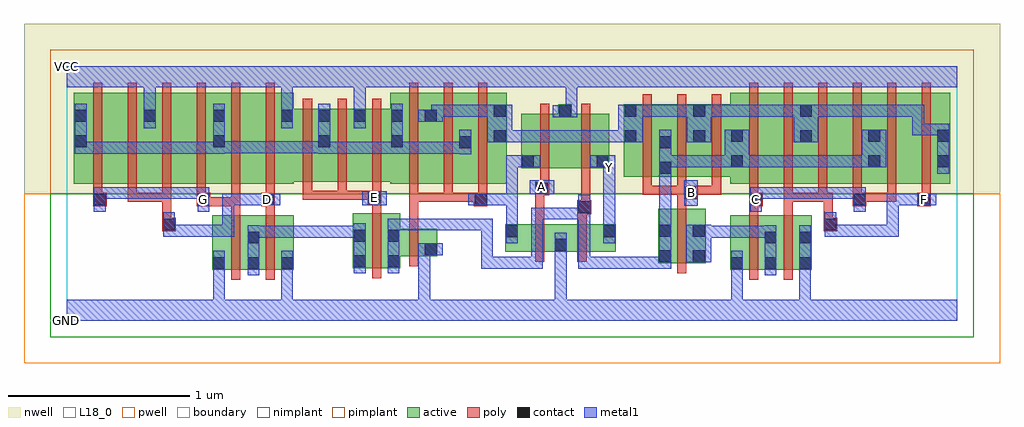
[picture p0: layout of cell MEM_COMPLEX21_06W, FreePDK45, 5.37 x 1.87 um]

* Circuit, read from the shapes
.subckt MEM_COMPLEX21_06W A B C D E F G GND VCC Y
M1 n1 G GND VSUBS nfet w=0.3u l=0.05u
M2 GND D n1 VSUBS nfet w=0.3u l=0.05u
M3 n2 E n1 VSUBS nfet w=0.3u l=0.05u
M4 GND n3 n2 VSUBS nfet w=0.15u l=0.05u
M5 GND A n3 VSUBS nfet w=0.15u l=0.05u
M6 Y n2 GND VSUBS nfet w=0.15u l=0.05u
M7 n4 B n2 VSUBS nfet w=0.3u l=0.05u
M8 n4 C GND VSUBS nfet w=0.3u l=0.05u
M9 GND F n4 VSUBS nfet w=0.3u l=0.05u
M10 n5 G n6 n7 pfet w=0.5u l=0.05u
M11 VCC D n5 n7 pfet w=0.5u l=0.05u
M12 n8 D VCC n7 pfet w=0.5u l=0.05u
M13 n6 G n8 n7 pfet w=0.5u l=0.05u
M14 n9 G n6 n7 pfet w=0.5u l=0.05u
M15 VCC D n9 n7 pfet w=0.5u l=0.05u
M16 n6 E VCC n7 pfet w=0.4u l=0.05u m=3
M17 n10 n3 n6 n7 pfet w=0.5u l=0.05u m=3
M18 VCC A n3 n7 pfet w=0.3u l=0.05u
M19 Y n2 VCC n7 pfet w=0.3u l=0.05u
M20 n2 B n10 n7 pfet w=0.4u l=0.05u m=3
M21 n11 C n2 n7 pfet w=0.5u l=0.05u
M22 n10 F n11 n7 pfet w=0.5u l=0.05u
M23 n12 F n10 n7 pfet w=0.5u l=0.05u
M24 n2 C n12 n7 pfet w=0.5u l=0.05u
M25 n13 C n2 n7 pfet w=0.5u l=0.05u
M26 n10 F n13 n7 pfet w=0.5u l=0.05u
.ends

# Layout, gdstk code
import gdstk
lib = gdstk.Library(unit=1e-6, precision=1e-09)
def R(c, l, rs):  # rectangles x0, y0, x1, y1
    for r in rs: c.add(gdstk.rectangle(r[:2], r[2:], *l))
def A(c, l, x, y, w, h, nx, ny, dx, dy):  # array of equal rectangles
    R(c, l, [(x+i*dx, y+j*dy, x+i*dx+w, y+j*dy+h) for i in range(nx) for j in range(ny)])
active = (1, 0)
pwell = (2, 0)
nwell = (3, 0)
nimplant = (4, 0)
pimplant = (5, 0)
poly = (9, 0)
contact = (10, 0)
metal1 = (11, 0)
L18_0 = (18, 0)
boundary = (235, 0)

mem_complex21_06w = lib.new_cell('MEM_COMPLEX21_06W')
A(mem_complex21_06w, active, 0.04, 0.755, 0.225, 0.5, 3, 1, 0.38, 0)
R(mem_complex21_06w, active, [(0.8,0.28,0.875,0.58), (0.8,0.28,1.065,0.58), (0.99,0.28,1.065,0.495), (0.99,0.28,1.25,0.58), (1.175,0.28,1.25,0.58), (3.65,0.28,3.725,0.58), (3.65,0.28,3.91,0.58), (3.835,0.28,4.1,0.58), (3.835,0.28,3.91,0.495), (4.025,0.28,4.1,0.58), (1.575,0.29,1.65,0.59), (1.575,0.29,1.835,0.59), (1.76,0.29,1.835,0.505), (3.255,0.317,3.33,0.617), (3.255,0.317,3.515,0.617), (3.44,0.317,3.515,0.617), (1.76,0.355,2.04,0.505), (1.965,0.355,2.04,0.505), (2.412,0.38,2.755,0.53), (2.68,0.38,2.755,0.455), (2.68,0.38,3.022,0.53), (2.412,0.455,2.487,0.53), (2.947,0.455,3.022,0.53), (0.04,0.755,0.145,1.2), (0.265,0.755,0.495,1.255), (0.42,0.755,0.495,1.255), (0.645,0.755,0.875,1.255), (0.8,0.755,0.875,1.2), (1.025,0.755,1.25,1.255), (1.78,0.755,2.04,1.255), (1.965,0.755,2.04,1.2), (1.965,0.755,2.23,1.255), (2.155,0.755,2.42,1.255), (2.155,0.755,2.23,1.07), (2.345,0.755,2.42,1.2), (3.65,0.755,3.875,1.255), (3.875,0.755,4.105,1.255), (4.03,0.755,4.255,1.255), (4.255,0.755,4.48,1.255), (4.405,0.755,4.635,1.255), (4.635,0.755,4.86,1.255), (4.785,0.755,4.86,1.2), (1.175,0.765,1.455,1.165), (1.38,0.765,1.65,1.165), (1.575,0.765,1.855,1.165), (3.065,0.792,3.33,1.192), (3.065,0.792,3.14,1.192), (3.255,0.792,3.33,1.07), (3.255,0.792,3.517,1.192), (3.442,0.792,3.725,1.192), (3.65,0.792,3.725,1.07), (4.03,0.807,4.105,1.2), (4.405,0.807,4.48,1.07), (2.5,0.84,2.575,1.055), (2.5,0.84,2.78,1.14), (2.705,0.84,2.985,1.14), (2.91,0.84,2.985,1.055), (1.175,0.907,1.25,1.165), (1.38,0.907,1.455,1.165), (1.575,0.907,1.65,1.165), (1.78,0.907,1.855,1.2), (3.442,0.907,3.517,1.192), (2.705,0.995,2.78,1.19)])
R(mem_complex21_06w, pwell, [(-0.235,-0.235,5.135,0.7)])
R(mem_complex21_06w, nwell, [(-0.235,0.7,5.135,1.635)])
R(mem_complex21_06w, nimplant, [(-0.09,-0.09,4.99,0.7)])
R(mem_complex21_06w, pimplant, [(-0.09,0.7,4.99,1.49)])
A(mem_complex21_06w, poly, 0.145, 0.655, 0.05, 0.095, 4, 1, 0.19, 0)
A(mem_complex21_06w, poly, 1.885, 0.655, 0.05, 0.095, 3, 1, 0.19, 0)
A(mem_complex21_06w, poly, 3.755, 0.655, 0.05, 0.095, 6, 1, 0.19, 0)
A(mem_complex21_06w, poly, 1.3, 0.665, 0.05, 0.095, 3, 1, 0.19, 0)
A(mem_complex21_06w, poly, 3.17, 0.692, 0.05, 0.095, 3, 1, 0.19, 0)
A(mem_complex21_06w, poly, 0.145, 0.7, 0.05, 0.61, 6, 1, 0.19, 0)
A(mem_complex21_06w, poly, 1.885, 0.7, 0.05, 0.61, 3, 1, 0.19, 0)
A(mem_complex21_06w, poly, 3.755, 0.7, 0.05, 0.61, 6, 1, 0.19, 0)
A(mem_complex21_06w, poly, 1.3, 0.71, 0.05, 0.51, 3, 1, 0.19, 0)
A(mem_complex21_06w, poly, 3.17, 0.737, 0.05, 0.51, 3, 1, 0.19, 0)
R(mem_complex21_06w, poly, [(0.905,0.225,0.955,0.635), (1.095,0.225,1.145,0.635), (3.755,0.225,3.805,0.635), (3.945,0.225,3.995,0.635), (1.68,0.235,1.73,0.645), (3.36,0.262,3.41,0.672), (1.885,0.3,1.935,0.56), (2.577,0.325,2.627,0.585), (2.81,0.325,2.86,0.585), (0.525,0.492,0.6,0.567), (4.165,0.492,4.24,0.567), (1.885,0.51,1.935,0.705), (0.525,0.517,0.575,0.705), (4.165,0.517,4.215,0.705), (2.577,0.535,2.627,0.74), (2.81,0.535,2.86,0.637), (0.905,0.585,0.955,0.68), (1.095,0.585,1.145,0.68), (3.755,0.585,3.805,0.68), (3.945,0.585,3.995,0.705), (2.81,0.587,2.885,0.662), (1.68,0.595,1.73,0.69), (2.83,0.612,2.88,0.835), (3.36,0.622,3.41,0.717), (0.145,0.63,0.22,0.705), (0.715,0.63,0.79,0.705), (0.74,0.63,0.955,0.68), (0.74,0.63,0.79,0.68), (0.74,0.63,0.79,0.68), (0.905,0.63,0.955,0.68), (0.905,0.63,0.955,0.75), (1.07,0.63,1.145,0.705), (2.24,0.63,2.315,0.705), (3.755,0.63,3.83,0.705), (4.325,0.63,4.4,0.705), (4.68,0.63,4.755,0.705), (1.655,0.64,1.73,0.715), (0.335,0.655,0.385,0.705), (0.335,0.655,0.385,0.705), (0.335,0.655,0.385,0.705), (0.335,0.655,0.575,0.705), (0.525,0.655,0.575,0.705), (0.525,0.655,0.575,0.705), (0.525,0.655,0.575,0.705), (1.095,0.655,1.145,0.75), (1.885,0.655,1.935,0.705), (1.885,0.655,2.125,0.705), (2.075,0.655,2.29,0.705), (2.075,0.655,2.125,0.705), (2.075,0.655,2.125,0.705), (2.075,0.655,2.125,0.705), (2.24,0.655,2.29,0.705), (2.24,0.655,2.29,0.705), (3.945,0.655,3.995,0.705), (3.945,0.655,3.995,0.705), (3.945,0.655,3.995,0.705), (3.945,0.655,4.185,0.705), (4.135,0.655,4.185,0.705), (4.135,0.655,4.185,0.705), (4.135,0.655,4.215,0.705), (4.35,0.655,4.565,0.705), (4.35,0.655,4.4,0.705), (4.35,0.655,4.4,0.705), (4.515,0.655,4.565,0.705), (1.3,0.665,1.35,0.715), (1.3,0.665,1.35,0.715), (1.3,0.665,1.35,0.715), (1.3,0.665,1.54,0.715), (1.49,0.665,1.705,0.715), (1.49,0.665,1.54,0.715), (1.49,0.665,1.54,0.715), (1.49,0.665,1.54,0.715), (3.36,0.667,3.467,0.742), (2.577,0.69,2.655,0.765), (3.17,0.692,3.22,0.742), (3.17,0.692,3.22,0.742), (3.17,0.692,3.22,0.742), (3.17,0.692,3.41,0.742), (3.417,0.692,3.467,0.742), (3.417,0.692,3.467,0.742), (3.417,0.692,3.6,0.742), (3.55,0.692,3.6,0.742), (2.605,0.715,2.655,0.835), (2.605,0.785,2.655,1.195), (2.83,0.785,2.88,1.195)])
A(mem_complex21_06w, contact, 0.045, 1.095, 0.065, 0.065, 3, 1, 0.38, 0)
R(mem_complex21_06w, contact, [(0.805,0.285,0.87,0.35), (0.995,0.285,1.06,0.35), (1.18,0.285,1.245,0.35), (3.655,0.285,3.72,0.35), (3.84,0.285,3.905,0.35), (4.03,0.285,4.095,0.35), (1.58,0.295,1.645,0.36), (1.765,0.295,1.83,0.36), (3.26,0.322,3.325,0.387), (3.445,0.322,3.51,0.387), (1.97,0.36,2.035,0.425), (2.685,0.385,2.75,0.45), (0.995,0.425,1.06,0.49), (3.84,0.425,3.905,0.49), (4.03,0.425,4.095,0.49), (1.58,0.435,1.645,0.5), (1.765,0.435,1.83,0.5), (2.417,0.46,2.482,0.525), (2.952,0.46,3.017,0.525), (3.26,0.462,3.325,0.527), (3.445,0.462,3.51,0.527), (0.53,0.497,0.595,0.562), (4.17,0.497,4.235,0.562), (2.815,0.592,2.88,0.657), (0.15,0.635,0.215,0.7), (0.72,0.635,0.785,0.7), (1.075,0.635,1.14,0.7), (2.245,0.635,2.31,0.7), (3.76,0.635,3.825,0.7), (4.33,0.635,4.395,0.7), (4.685,0.635,4.75,0.7), (1.66,0.645,1.725,0.71), (3.397,0.672,3.462,0.737), (2.582,0.695,2.647,0.76), (3.26,0.81,3.325,0.875), (2.505,0.845,2.57,0.91), (2.915,0.845,2.98,0.91), (3.655,0.845,3.72,0.91), (4.41,0.845,4.475,0.91), (4.79,0.845,4.855,0.91), (2.16,0.95,2.225,1.015), (3.26,0.95,3.325,1.015), (0.045,0.955,0.11,1.02), (0.805,0.955,0.87,1.02), (1.385,0.955,1.45,1.02), (1.785,0.955,1.85,1.02), (2.35,0.982,2.415,1.047), (3.07,0.982,3.135,1.047), (3.447,0.982,3.512,1.047), (4.035,0.982,4.1,1.047), (3.655,0.985,3.72,1.05), (4.41,0.985,4.475,1.05), (4.79,0.985,4.855,1.05), (1.18,1.095,1.245,1.16), (1.385,1.095,1.45,1.16), (1.58,1.095,1.645,1.16), (1.785,1.095,1.85,1.16), (1.97,1.095,2.035,1.16), (2.71,1.12,2.775,1.185), (2.35,1.122,2.415,1.187), (3.07,1.122,3.135,1.187), (3.447,1.122,3.512,1.187), (4.035,1.122,4.1,1.187)])
R(mem_complex21_06w, metal1, [(0,0,4.9,0.115), (0.805,0.05,0.87,0.115), (0.805,0.05,0.87,0.115), (0.805,0.05,0.87,0.315), (1.18,0.05,1.245,0.115), (1.18,0.05,1.245,0.115), (1.18,0.05,1.245,0.315), (1.935,0.05,2,0.115), (1.935,0.05,2,0.115), (1.935,0.05,2,0.115), (1.935,0.05,2,0.115), (1.935,0.05,2,0.115), (1.935,0.05,2,0.115), (1.935,0.05,2,0.425), (2.685,0.05,2.75,0.115), (2.685,0.05,2.75,0.115), (2.685,0.05,2.75,0.115), (2.685,0.05,2.75,0.115), (2.685,0.05,2.75,0.115), (2.685,0.05,2.75,0.115), (2.685,0.05,2.75,0.415), (3.655,0.05,3.72,0.115), (3.655,0.05,3.72,0.115), (3.655,0.05,3.72,0.315), (4.03,0.05,4.095,0.115), (4.03,0.05,4.095,0.115), (4.03,0.05,4.095,0.115), (4.03,0.05,4.095,0.115), (4.03,0.05,4.095,0.315), (0.805,0.25,0.87,0.315), (0.805,0.25,0.87,0.315), (0.805,0.25,0.87,0.385), (0.995,0.25,1.06,0.525), (1.18,0.25,1.245,0.315), (1.18,0.25,1.245,0.315), (1.18,0.25,1.245,0.385), (3.655,0.25,3.72,0.315), (3.655,0.25,3.72,0.315), (3.655,0.25,3.72,0.385), (3.84,0.25,3.905,0.525), (4.03,0.25,4.095,0.525), (1.58,0.26,1.645,0.535), (1.765,0.26,1.83,0.535), (2.28,0.287,2.345,0.352), (2.28,0.287,2.345,0.562), (2.28,0.287,2.602,0.352), (2.537,0.287,2.602,0.352), (2.537,0.287,2.62,0.352), (2.555,0.287,2.62,0.352), (2.555,0.287,2.62,0.622), (2.815,0.287,2.88,0.352), (2.815,0.287,3.155,0.352), (2.815,0.287,2.88,0.622), (3.09,0.287,3.155,0.352), (3.09,0.287,3.155,0.352), (3.09,0.287,3.155,0.352), (3.09,0.287,3.155,0.352), (3.09,0.287,3.155,0.352), (3.09,0.287,3.325,0.352), (3.26,0.287,3.325,0.352), (3.26,0.287,3.325,0.352), (3.26,0.287,3.325,0.562), (3.41,0.322,3.545,0.527), (2.685,0.35,2.75,0.485), (1.935,0.36,2.07,0.425), (2.417,0.425,2.482,0.56), (2.952,0.425,3.017,0.56), (0.995,0.457,1.06,0.522), (0.995,0.457,1.06,0.522), (0.995,0.457,1.242,0.522), (1.177,0.457,1.242,0.522), (1.177,0.457,1.242,0.522), (1.177,0.457,1.242,0.522), (1.177,0.457,1.507,0.522), (1.442,0.457,1.507,0.522), (1.442,0.457,1.507,0.522), (1.442,0.457,1.507,0.522), (1.442,0.457,1.645,0.522), (3.48,0.457,3.685,0.522), (3.62,0.457,3.685,0.522), (3.62,0.457,3.685,0.522), (3.62,0.457,3.685,0.522), (3.62,0.457,3.905,0.522), (3.84,0.457,3.905,0.522), (3.84,0.457,3.905,0.522), (0.53,0.462,0.595,0.527), (0.53,0.462,0.595,0.527), (0.53,0.462,0.595,0.527), (0.53,0.462,0.595,0.527), (0.53,0.462,0.595,0.597), (0.53,0.462,0.732,0.527), (0.667,0.462,0.732,0.527), (0.667,0.462,0.922,0.527), (0.857,0.462,0.922,0.527), (0.857,0.462,0.922,0.7), (4.17,0.462,4.235,0.597), (4.17,0.462,4.302,0.527), (4.237,0.462,4.302,0.527), (4.237,0.462,4.302,0.527), (4.237,0.462,4.302,0.527), (4.237,0.462,4.372,0.527), (4.307,0.462,4.372,0.527), (4.307,0.462,4.577,0.527), (4.512,0.462,4.577,0.527), (4.512,0.462,4.577,0.7), (1.765,0.47,1.83,0.535), (1.765,0.47,1.83,0.562), (2.417,0.495,2.482,0.7), (2.952,0.495,3.017,0.84), (1.765,0.497,2.07,0.562), (2.005,0.497,2.07,0.562), (2.005,0.497,2.07,0.562), (2.005,0.497,2.07,0.562), (2.005,0.497,2.207,0.562), (2.142,0.497,2.207,0.562), (2.142,0.497,2.207,0.562), (2.142,0.497,2.207,0.562), (2.142,0.497,2.345,0.562), (2.28,0.497,2.345,0.562), (3.26,0.497,3.325,0.562), (3.26,0.497,3.325,0.562), (3.26,0.497,3.325,0.84), (2.555,0.557,2.62,0.622), (2.555,0.557,2.812,0.622), (2.747,0.557,2.812,0.622), (2.747,0.557,2.812,0.622), (2.747,0.557,2.812,0.622), (2.747,0.557,2.88,0.622), (2.747,0.557,2.88,0.622), (2.815,0.557,2.88,0.622), (2.815,0.557,2.88,0.692), (0.15,0.6,0.215,0.735), (0.72,0.6,0.785,0.735), (3.76,0.6,3.825,0.735), (4.33,0.6,4.395,0.735), (3.397,0.632,3.472,0.772), (0.857,0.635,0.922,0.7), (0.857,0.635,0.922,0.7), (0.857,0.635,0.922,0.7), (0.857,0.635,1.105,0.7), (1.04,0.635,1.105,0.7), (1.04,0.635,1.105,0.7), (1.04,0.635,1.175,0.7), (1.625,0.635,1.76,0.712), (2.21,0.635,2.345,0.7), (2.28,0.635,2.345,0.7), (2.28,0.635,2.345,0.7), (2.28,0.635,2.482,0.7), (2.417,0.635,2.482,0.7), (2.417,0.635,2.482,0.91), (4.512,0.635,4.577,0.7), (4.512,0.635,4.577,0.7), (4.512,0.635,4.577,0.7), (4.512,0.635,4.715,0.7), (4.65,0.635,4.715,0.7), (4.65,0.635,4.715,0.7), (4.65,0.635,4.785,0.7), (0.15,0.67,0.29,0.735), (0.225,0.67,0.29,0.735), (0.225,0.67,0.427,0.735), (0.362,0.67,0.427,0.735), (0.362,0.67,0.427,0.735), (0.362,0.67,0.427,0.735), (0.362,0.67,0.565,0.735), (0.5,0.67,0.565,0.735), (0.5,0.67,0.565,0.735), (0.5,0.67,0.565,0.735), (0.5,0.67,0.785,0.735), (3.76,0.67,3.892,0.735), (3.827,0.67,3.892,0.735), (3.827,0.67,4.065,0.735), (4,0.67,4.065,0.735), (4,0.67,4.065,0.735), (4,0.67,4.065,0.735), (4,0.67,4.202,0.735), (4.137,0.67,4.202,0.735), (4.137,0.67,4.302,0.735), (4.237,0.67,4.302,0.735), (4.237,0.67,4.395,0.735), (2.547,0.695,2.682,0.772), (2.952,0.775,3.017,0.91), (3.26,0.775,3.325,1.05), (4.79,0.81,4.855,1.085), (2.417,0.845,2.605,0.91), (2.88,0.845,3.017,0.91), (2.952,0.845,3.017,0.91), (3.26,0.845,3.462,0.91), (3.397,0.845,3.462,0.91), (3.397,0.845,3.462,0.91), (3.397,0.845,3.462,0.91), (3.397,0.845,3.685,0.91), (3.62,0.845,3.685,0.91), (3.62,0.845,3.685,0.91), (3.62,0.845,3.755,1.05), (3.69,0.845,3.892,0.91), (3.827,0.845,3.892,0.91), (3.827,0.845,3.892,0.91), (3.827,0.845,3.892,0.91), (3.827,0.845,4.042,0.91), (3.977,0.845,4.042,0.91), (3.977,0.845,4.165,0.91), (4.1,0.845,4.165,0.91), (4.1,0.845,4.202,0.91), (4.137,0.845,4.202,0.91), (4.137,0.845,4.302,0.91), (4.237,0.845,4.302,0.91), (4.237,0.845,4.44,0.91), (4.375,0.845,4.44,0.91), (4.375,0.845,4.44,0.91), (4.375,0.845,4.51,1.05), (2.16,0.915,2.225,1.05), (0.045,0.92,0.11,0.985), (0.045,0.92,0.11,0.985), (0.045,0.92,0.11,1.195), (0.045,0.92,0.29,0.985), (0.225,0.92,0.29,0.985), (0.225,0.92,0.427,0.985), (0.362,0.92,0.427,0.985), (0.362,0.92,0.427,0.985), (0.362,0.92,0.427,0.985), (0.362,0.92,0.595,0.985), (0.53,0.92,0.595,0.985), (0.53,0.92,0.732,0.985), (0.667,0.92,0.732,0.985), (0.667,0.92,0.732,0.985), (0.667,0.92,0.732,0.985), (0.667,0.92,0.87,0.985), (0.805,0.92,0.87,1.195), (1.385,0.92,1.45,0.985), (1.385,0.92,1.45,0.985), (1.385,0.92,1.45,1.195), (1.385,0.92,1.692,0.985), (1.627,0.92,1.692,0.985), (1.627,0.92,1.692,0.985), (1.627,0.92,1.692,0.985), (1.627,0.92,1.85,0.985), (1.785,0.92,1.85,0.985), (1.785,0.92,1.85,0.985), (1.785,0.92,1.85,1.195), (1.785,0.92,1.987,0.985), (1.922,0.92,1.987,0.985), (1.922,0.92,1.987,0.985), (1.922,0.92,1.987,0.985), (1.922,0.92,2.225,0.985), (0.805,0.922,0.922,0.987), (0.857,0.922,0.922,0.987), (0.857,0.922,1.06,0.987), (0.995,0.922,1.06,0.987), (0.995,0.922,1.06,0.987), (0.995,0.922,1.06,0.987), (0.995,0.922,1.312,0.987), (1.247,0.922,1.312,0.987), (1.247,0.922,1.312,0.987), (1.247,0.922,1.312,0.987), (1.247,0.922,1.45,0.987), (2.315,0.982,2.45,1.187), (2.385,0.982,2.482,1.047), (2.417,0.982,2.482,1.047), (2.417,0.982,2.742,1.047), (2.677,0.982,2.742,1.047), (2.677,0.982,2.742,1.047), (2.677,0.982,2.742,1.047), (2.677,0.982,2.962,1.047), (2.897,0.982,2.962,1.047), (2.897,0.982,2.962,1.047), (2.897,0.982,2.962,1.047), (2.897,0.982,3.1,1.047), (3.035,0.982,3.17,1.187), (3.412,0.982,3.547,1.187), (4,0.982,4.135,1.187), (4.652,1.02,4.717,1.085), (4.652,1.02,4.855,1.085), (4.652,1.02,4.717,1.187), (4.79,1.02,4.855,1.085), (4.79,1.02,4.855,1.085), (0.425,1.06,0.49,1.195), (1.18,1.06,1.245,1.195), (1.58,1.06,1.645,1.195), (1.935,1.095,2.07,1.16), (2.005,1.095,2.07,1.16), (2.005,1.095,2.07,1.187), (2.675,1.12,2.81,1.185), (2.745,1.12,2.81,1.35), (2.005,1.122,2.207,1.187), (2.142,1.122,2.207,1.187), (2.142,1.122,2.207,1.187), (2.142,1.122,2.207,1.187), (2.142,1.122,2.38,1.187), (3.105,1.122,3.325,1.187), (3.26,1.122,3.325,1.187), (3.26,1.122,3.325,1.187), (3.26,1.122,3.325,1.187), (3.26,1.122,3.477,1.187), (3.412,1.122,3.477,1.187), (3.412,1.122,3.477,1.187), (3.482,1.122,3.687,1.187), (3.622,1.122,3.687,1.187), (3.622,1.122,3.687,1.187), (3.622,1.122,3.687,1.187), (3.622,1.122,3.892,1.187), (3.827,1.122,3.892,1.187), (3.827,1.122,3.892,1.187), (3.827,1.122,3.892,1.187), (3.827,1.122,4.065,1.187), (4,1.122,4.065,1.187), (4,1.122,4.065,1.187), (4.07,1.122,4.202,1.187), (4.137,1.122,4.202,1.187), (4.137,1.122,4.302,1.187), (4.237,1.122,4.302,1.187), (4.237,1.122,4.372,1.187), (4.307,1.122,4.372,1.187), (4.307,1.122,4.577,1.187), (4.512,1.122,4.577,1.187), (4.512,1.122,4.577,1.187), (4.512,1.122,4.577,1.187), (4.512,1.122,4.717,1.187), (4.652,1.122,4.717,1.187), (0.425,1.13,0.49,1.35), (1.18,1.13,1.245,1.35), (1.58,1.13,1.645,1.35), (0,1.285,4.9,1.4), (2.745,1.285,2.81,1.35), (2.745,1.285,2.81,1.35)])
R(mem_complex21_06w, L18_0, [(0,0,4.9,0.115), (0.805,0.05,0.87,0.115), (0.805,0.05,0.87,0.115), (0.805,0.05,0.87,0.315), (1.18,0.05,1.245,0.115), (1.18,0.05,1.245,0.115), (1.18,0.05,1.245,0.315), (1.935,0.05,2,0.115), (1.935,0.05,2,0.115), (1.935,0.05,2,0.115), (1.935,0.05,2,0.115), (1.935,0.05,2,0.115), (1.935,0.05,2,0.115), (1.935,0.05,2,0.425), (2.685,0.05,2.75,0.115), (2.685,0.05,2.75,0.115), (2.685,0.05,2.75,0.115), (2.685,0.05,2.75,0.115), (2.685,0.05,2.75,0.115), (2.685,0.05,2.75,0.115), (2.685,0.05,2.75,0.415), (3.655,0.05,3.72,0.115), (3.655,0.05,3.72,0.115), (3.655,0.05,3.72,0.315), (4.03,0.05,4.095,0.115), (4.03,0.05,4.095,0.115), (4.03,0.05,4.095,0.115), (4.03,0.05,4.095,0.115), (4.03,0.05,4.095,0.315), (0.805,0.25,0.87,0.385), (0.805,0.25,0.87,0.315), (0.805,0.25,0.87,0.315), (1.18,0.25,1.245,0.385), (1.18,0.25,1.245,0.315), (1.18,0.25,1.245,0.315), (3.655,0.25,3.72,0.385), (3.655,0.25,3.72,0.315), (3.655,0.25,3.72,0.315), (4.03,0.25,4.095,0.525), (2.685,0.35,2.75,0.485), (1.935,0.36,2.07,0.425), (2.952,0.425,3.017,0.56), (0.53,0.462,0.595,0.597), (0.53,0.462,0.595,0.527), (0.53,0.462,0.595,0.527), (0.53,0.462,0.595,0.527), (0.53,0.462,0.595,0.527), (0.53,0.462,0.732,0.527), (0.667,0.462,0.732,0.527), (0.667,0.462,0.922,0.527), (0.857,0.462,0.922,0.527), (0.857,0.462,0.922,0.7), (4.17,0.462,4.235,0.597), (4.17,0.462,4.302,0.527), (4.237,0.462,4.302,0.527), (4.237,0.462,4.302,0.527), (4.237,0.462,4.302,0.527), (4.237,0.462,4.372,0.527), (4.307,0.462,4.372,0.527), (4.307,0.462,4.577,0.527), (4.512,0.462,4.577,0.527), (4.512,0.462,4.577,0.7), (2.952,0.495,3.017,0.84), (0.15,0.6,0.215,0.735), (0.72,0.6,0.785,0.735), (3.76,0.6,3.825,0.735), (4.33,0.6,4.395,0.735), (3.397,0.632,3.472,0.772), (0.72,0.635,0.785,0.7), (0.857,0.635,0.922,0.7), (0.857,0.635,0.922,0.7), (0.857,0.635,0.922,0.7), (0.857,0.635,1.105,0.7), (1.04,0.635,1.105,0.7), (1.04,0.635,1.105,0.7), (1.04,0.635,1.175,0.7), (1.075,0.635,1.14,0.7), (1.625,0.635,1.76,0.712), (3.76,0.635,3.825,0.7), (4.512,0.635,4.577,0.7), (4.512,0.635,4.577,0.7), (4.512,0.635,4.577,0.7), (4.512,0.635,4.715,0.7), (4.65,0.635,4.715,0.7), (4.65,0.635,4.715,0.7), (4.65,0.635,4.785,0.7), (4.685,0.635,4.75,0.7), (1.66,0.647,1.725,0.712), (0.15,0.67,0.29,0.735), (0.225,0.67,0.29,0.735), (0.225,0.67,0.427,0.735), (0.362,0.67,0.427,0.735), (0.362,0.67,0.427,0.735), (0.362,0.67,0.427,0.735), (0.362,0.67,0.565,0.735), (0.5,0.67,0.565,0.735), (0.5,0.67,0.565,0.735), (0.5,0.67,0.565,0.735), (0.5,0.67,0.785,0.735), (3.76,0.67,3.892,0.735), (3.827,0.67,3.892,0.735), (3.827,0.67,4.065,0.735), (4,0.67,4.065,0.735), (4,0.67,4.065,0.735), (4,0.67,4.065,0.735), (4,0.67,4.202,0.735), (4.137,0.67,4.202,0.735), (4.137,0.67,4.302,0.735), (4.237,0.67,4.302,0.735), (4.237,0.67,4.395,0.735), (3.407,0.672,3.472,0.737), (2.547,0.695,2.682,0.772), (2.582,0.707,2.647,0.772), (2.952,0.775,3.017,0.91), (2.952,0.81,3.017,0.875), (2.88,0.845,3.017,0.91), (2.952,0.845,3.017,0.91), (0.425,1.06,0.49,1.195), (1.18,1.06,1.245,1.195), (1.58,1.06,1.645,1.195), (2.675,1.12,2.81,1.185), (2.745,1.12,2.81,1.35), (0.425,1.13,0.49,1.35), (1.18,1.13,1.245,1.35), (1.58,1.13,1.645,1.35), (0,1.285,4.9,1.4), (2.745,1.285,2.81,1.35), (2.745,1.285,2.81,1.35)])
R(mem_complex21_06w, boundary, [(0,0,4.9,1.4)])
mem_complex21_06w.add(gdstk.Label('A', (2.615,0.74), layer=11, texttype=0))
mem_complex21_06w.add(gdstk.Label('B', (3.44,0.705), layer=11, texttype=0))
mem_complex21_06w.add(gdstk.Label('C', (3.792,0.667), layer=11, texttype=0))
mem_complex21_06w.add(gdstk.Label('D', (1.107,0.667), layer=11, texttype=0))
mem_complex21_06w.add(gdstk.Label('E', (1.692,0.68), layer=11, texttype=0))
mem_complex21_06w.add(gdstk.Label('F', (4.717,0.667), layer=11, texttype=0))
mem_complex21_06w.add(gdstk.Label('G', (0.752,0.667), layer=11, texttype=0))
mem_complex21_06w.add(gdstk.Label('Y', (2.985,0.842), layer=11, texttype=0))
mem_complex21_06w.add(gdstk.Label('VCC', (0,1.4), layer=11, texttype=0))
mem_complex21_06w.add(gdstk.Label('GND', (0,0), layer=11, texttype=0))

lib.write_gds('MEM_COMPLEX21_06W.gds')
